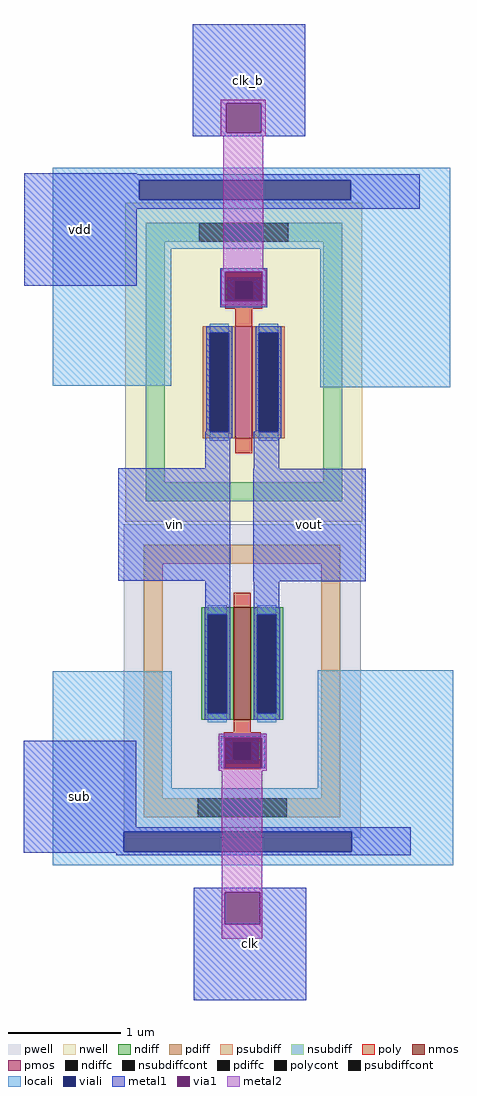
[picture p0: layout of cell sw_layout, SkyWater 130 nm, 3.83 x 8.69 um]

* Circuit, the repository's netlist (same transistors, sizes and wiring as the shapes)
* SPICE3 file created from sw_layout.ext - technology: sky130A

X0 vout clk_b vin vdd sky130_fd_pr__pfet_01v8 ad=0.29 pd=2.58 as=0.29 ps=2.58 w=1 l=0.15
X1 vout clk vin sub sky130_fd_pr__nfet_01v8 ad=0.29 pd=2.58 as=0.29 ps=2.58 w=1 l=0.15

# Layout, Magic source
magic
tech sky130A
magscale 1 2
<< pwell >>
rect 1326 -1043 1408 -1037
rect 1326 -1111 1408 -1049
<< locali >>
rect 1029 -56 1737 -34
rect 1029 -91 1183 -56
rect 1559 -91 1737 -56
rect 1029 -178 1737 -91
rect 1029 -422 1240 -178
rect 1505 -425 1737 -178
rect 1029 -1139 1241 -931
rect 1501 -1139 1742 -929
rect 1029 -1216 1742 -1139
rect 1029 -1252 1155 -1216
rect 1561 -1252 1742 -1216
rect 1029 -1276 1742 -1252
<< viali >>
rect 1183 -91 1559 -56
rect 1155 -1252 1561 -1216
<< metal1 >>
rect 1278 81 1478 222
rect 1278 28 1338 81
rect 1400 28 1478 81
rect 1278 22 1478 28
rect 978 -46 1178 -44
rect 978 -56 1682 -46
rect 978 -91 1183 -56
rect 1559 -91 1682 -56
rect 978 -107 1682 -91
rect 978 -244 1178 -107
rect 1327 -219 1411 -213
rect 1327 -272 1336 -219
rect 1402 -272 1411 -219
rect 1327 -282 1411 -272
rect 1300 -569 1345 -504
rect 1145 -769 1345 -569
rect 1387 -570 1432 -504
rect 1300 -830 1345 -769
rect 1386 -770 1586 -570
rect 1387 -830 1432 -770
rect 1328 -1049 1407 -1045
rect 977 -1208 1177 -1054
rect 1328 -1102 1335 -1049
rect 1401 -1102 1407 -1049
rect 1328 -1103 1407 -1102
rect 977 -1216 1666 -1208
rect 977 -1252 1155 -1216
rect 1561 -1252 1666 -1216
rect 977 -1254 1666 -1252
rect 1142 -1258 1666 -1254
rect 1280 -1324 1480 -1316
rect 1280 -1381 1335 -1324
rect 1398 -1381 1480 -1324
rect 1280 -1516 1480 -1381
<< via1 >>
rect 1338 28 1400 81
rect 1336 -272 1402 -219
rect 1335 -1102 1401 -1049
rect 1335 -1381 1398 -1324
<< metal2 >>
rect 1328 81 1408 87
rect 1328 28 1338 81
rect 1400 28 1408 81
rect 1328 22 1408 28
rect 1332 -216 1404 22
rect 1329 -219 1409 -216
rect 1329 -272 1336 -219
rect 1402 -272 1409 -219
rect 1329 -279 1409 -272
rect 1324 -1049 1410 -1042
rect 1324 -1102 1335 -1049
rect 1401 -1102 1410 -1049
rect 1324 -1108 1410 -1102
rect 1330 -1324 1402 -1108
rect 1330 -1381 1335 -1324
rect 1398 -1381 1402 -1324
rect 1330 -1407 1402 -1381
use sky130_fd_pr__pfet_01v8_NKK3FE  XM1 ~/saf
transform 1 0 1369 0 1 -380
box -211 -284 211 284
use sky130_fd_pr__nfet_01v8_5WP7M2  XM2 ~/saf
transform -1 0 1366 0 1 -948
box -211 -279 211 279
<< labels >>
flabel metal1 978 -244 1178 -44 0 FreeSans 256 0 0 0 vdd
port 4 nsew
flabel metal1 1145 -769 1345 -569 0 FreeSans 256 0 0 0 vin
port 3 nsew
flabel metal1 1386 -770 1586 -570 0 FreeSans 256 0 0 0 vout
port 2 nsew
flabel metal1 1280 -1516 1480 -1316 0 FreeSans 256 0 0 0 clk
port 0 nsew
flabel metal1 1278 22 1478 222 0 FreeSans 256 0 0 0 clk_b
port 5 nsew
flabel metal1 977 -1254 1177 -1054 0 FreeSans 256 0 0 0 sub
port 1 nsew
<< end >>

# cell sky130_fd_pr__pfet_01v8_NKK3FE: kit device sky130_fd_pr__pfet_01v8, w 1.0 l 0.15 m 1 nf 1 diffcov 100 polycov 100 guard 1 glc 0 grc 0 gtc 1 gbc 0 tbcov 100 rlcov 100 topc 1 botc 0 poverlap 0 doverlap 1 lmin 0.15 wmin 0.42 compatible {sky130_fd_pr__pfet_01v8 sky130_fd_pr__pfet_01v8_lvt sky130_fd_pr__pfet_01v8_hvt sky130_fd_pr__pfet_g5v0d10v5} full_metal 0 viasrc 100 viadrn 100 viagate 100 viagb 0 viagr 0 viagl 0 viagt 0

# cell sky130_fd_pr__nfet_01v8_5WP7M2: kit device sky130_fd_pr__nfet_01v8, w 1.0 l 0.15 m 1 nf 1 diffcov 100 polycov 100 guard 1 glc 0 grc 0 gtc 0 gbc 1 tbcov 100 rlcov 100 topc 0 botc 1 poverlap 0 doverlap 1 lmin 0.15 wmin 0.42 compatible {sky130_fd_pr__nfet_01v8 sky130_fd_pr__nfet_01v8_lvt sky130_fd_bs_flash__special_sonosfet_star sky130_fd_pr__nfet_g5v0d10v5 sky130_fd_pr__nfet_05v0_nvt sky130_fd_pr__nfet_03v3_nvt} full_metal 0 viasrc 100 viadrn 100 viagate 100 viagb 0 viagr 0 viagl 0 viagt 0
